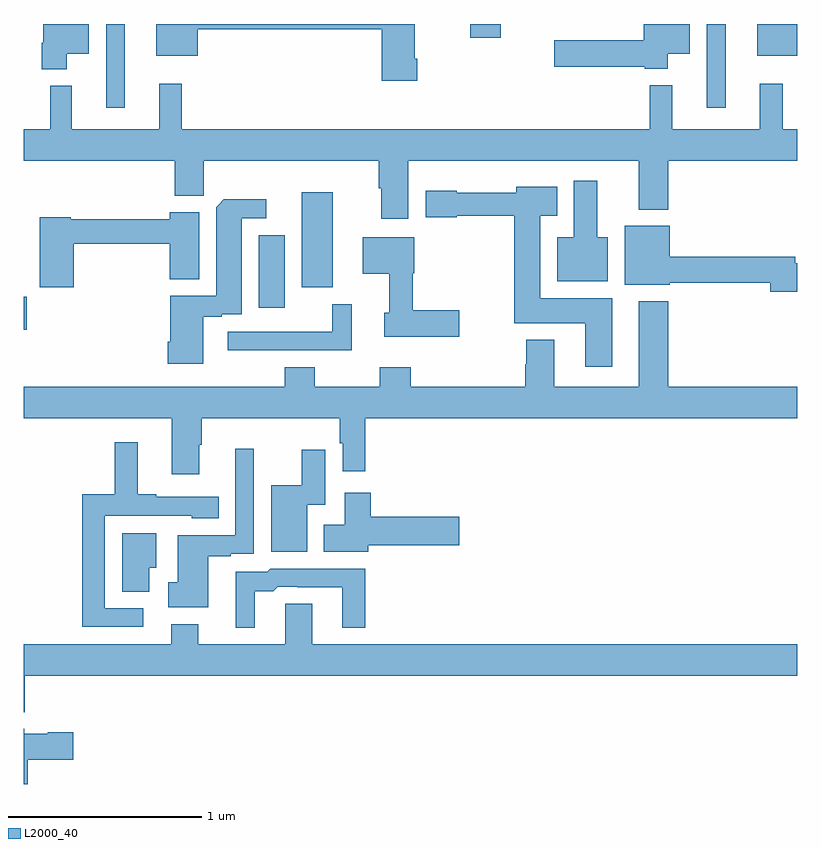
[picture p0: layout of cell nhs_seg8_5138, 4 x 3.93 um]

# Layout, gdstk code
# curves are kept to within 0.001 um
import gdstk
lib = gdstk.Library(unit=1e-6, precision=1e-09)
def R(c, l, rs):  # rectangles x0, y0, x1, y1
    for r in rs: c.add(gdstk.rectangle(r[:2], r[2:], *l))
def P(c, l, *ps):  # polygons
    for p in ps: c.add(gdstk.Polygon(p, *l))
L2000_40 = (2000, 40)

nhs_seg8_5138 = lib.new_cell('nhs_seg8_5138')
R(nhs_seg8_5138, L2000_40, [(421,1090.319,421.015,1090.49), (422.216,1090.431,422.35,1090.807), (422.438,1090.539,422.599,1091.029), (421.425,1091.466,421.522,1091.9), (424.533,1091.466,424.63,1091.9), (424.793,1091.735,425,1091.9), (423.308,1091.829,423.466,1091.9)])
P(nhs_seg8_5138, L2000_40, [(423.035,1091.719),(423.022,1091.719),(423.022,1091.9),(421.685,1091.9),(421.685,1091.735),(421.9,1091.735),(421.9,1091.872),(422.852,1091.872),(422.852,1091.607),(423.035,1091.607)],
  [(424.33,1091.747),(424.444,1091.747),(424.444,1091.9),(424.208,1091.9),(424.208,1091.817),(423.744,1091.817),(423.744,1091.68),(424.212,1091.68),(424.212,1091.669),(424.33,1091.669)],
  [(421.222,1091.747),(421.336,1091.747),(421.336,1091.9),(421.1,1091.9),(421.1,1091.802),(421.093,1091.802),(421.093,1091.666),(421.222,1091.666)],
  [(421.817,1091.59),(421.7,1091.59),(421.7,1091.356),(421.247,1091.356),(421.247,1091.581),(421.137,1091.581),(421.137,1091.356),(421,1091.356),(421,1091.192),(421.781,1091.192),(421.781,1091.011),(421.931,1091.011),(421.931,1091.192),(422.837,1091.192),(422.837,1091.051),(422.849,1091.051),(422.849,1090.893),(422.989,1090.893),(422.989,1091.192),(424.181,1091.192),(424.181,1090.94),(424.334,1090.94),(424.334,1091.192),(425,1091.192),(425,1091.356),(424.925,1091.356),(424.925,1091.59),(424.808,1091.59),(424.808,1091.356),(424.355,1091.356),(424.355,1091.584),(424.237,1091.584),(424.237,1091.356),(421.817,1091.356)],
  [(424.021,1090.798),(423.967,1090.798),(423.967,1091.089),(423.845,1091.089),(423.845,1090.798),(423.758,1090.798),(423.758,1090.568),(424.021,1090.568)],
  [(424.045,1090.48),(423.67,1090.48),(423.67,1090.907),(423.76,1090.907),(423.76,1091.059),(423.548,1091.059),(423.548,1091.026),(423.24,1091.026),(423.24,1091.038),(423.078,1091.038),(423.078,1090.901),(423.24,1090.901),(423.24,1090.909),(423.536,1090.909),(423.536,1090.352),(423.905,1090.352),(423.905,1090.128),(424.045,1090.128)],
  [(421.927,1090.386),(422.024,1090.386),(422.024,1090.398),(422.128,1090.398),(422.128,1090.896),(422.254,1090.896),(422.254,1090.994),(422.035,1090.994),(421.994,1090.952),(421.994,1090.494),(421.757,1090.494),(421.757,1090.255),(421.745,1090.255),(421.745,1090.143),(421.927,1090.143)],
  [(421.259,1090.762),(421.754,1090.762),(421.754,1090.579),(421.906,1090.579),(421.906,1090.926),(421.754,1090.926),(421.754,1090.891),(421.242,1090.891),(421.242,1090.899),(421.081,1090.899),(421.081,1090.539),(421.259,1090.539)],
  [(425,1090.661),(424.99,1090.661),(424.99,1090.697),(424.342,1090.697),(424.342,1090.855),(424.109,1090.855),(424.109,1090.55),(424.342,1090.55),(424.342,1090.561),(424.862,1090.561),(424.862,1090.514),(425,1090.514)],
  [(423.253,1090.418),(423.011,1090.418),(423.011,1090.611),(423.019,1090.611),(423.019,1090.798),(422.753,1090.798),(422.753,1090.607),(422.89,1090.607),(422.89,1090.405),(422.864,1090.405),(422.864,1090.283),(423.253,1090.283)],
  [(421.906,1089.723),(421.919,1089.723),(421.919,1089.86),(422.633,1089.86),(422.633,1089.731),(422.649,1089.731),(422.649,1089.585),(422.765,1089.585),(422.765,1089.86),(425,1089.86),(425,1090.024),(424.334,1090.024),(424.334,1090.465),(424.181,1090.465),(424.181,1090.024),(423.745,1090.024),(423.745,1090.267),(423.598,1090.267),(423.598,1090.14),(423.593,1090.14),(423.593,1090.024),(423.002,1090.024),(423.002,1090.123),(422.842,1090.123),(422.842,1090.024),(422.505,1090.024),(422.505,1090.123),(422.35,1090.123),(422.35,1090.024),(421,1090.024),(421,1089.86),(421.766,1089.86),(421.766,1089.57),(421.906,1089.57)],
  [(422.695,1090.45),(422.596,1090.45),(422.596,1090.308),(422.055,1090.308),(422.055,1090.212),(422.695,1090.212)],
  [(421.618,1088.877),(421.419,1088.877),(421.419,1089.357),(421.869,1089.357),(421.869,1089.344),(422.009,1089.344),(422.009,1089.453),(421.684,1089.453),(421.684,1089.466),(421.588,1089.466),(421.588,1089.736),(421.471,1089.736),(421.471,1089.466),(421.303,1089.466),(421.303,1088.781),(421.618,1088.781)],
  [(421.954,1089.147),(422.069,1089.147),(422.069,1089.159),(422.19,1089.159),(422.19,1089.703),(422.094,1089.703),(422.094,1089.255),(421.796,1089.255),(421.796,1089.012),(421.746,1089.012),(421.746,1088.882),(421.954,1088.882)],
  [(422.467,1089.413),(422.559,1089.413),(422.559,1089.697),(422.438,1089.697),(422.438,1089.514),(422.279,1089.514),(422.279,1089.17),(422.467,1089.17)],
  [(422.782,1089.203),(423.253,1089.203),(423.253,1089.35),(422.795,1089.35),(422.795,1089.475),(422.66,1089.475),(422.66,1089.31),(422.552,1089.31),(422.552,1089.17),(422.782,1089.17)],
  [(421.648,1089.086),(421.684,1089.086),(421.684,1089.265),(421.508,1089.265),(421.508,1088.962),(421.648,1088.962)],
  [(422.194,1088.966),(422.291,1088.966),(422.313,1088.988),(422.413,1088.988),(422.413,1088.985),(422.648,1088.985),(422.648,1088.777),(422.765,1088.777),(422.765,1089.081),(422.274,1089.081),(422.259,1089.066),(422.096,1089.066),(422.096,1088.777),(422.194,1088.777)],
  [(421.004,1088.528),(425,1088.528),(425,1088.692),(422.491,1088.692),(422.491,1088.9),(422.351,1088.9),(422.351,1088.692),(421.903,1088.692),(421.903,1088.794),(421.763,1088.794),(421.763,1088.692),(421,1088.692),(421,1088.339),(421.004,1088.339)],
  [(421.019,1088.093),(421.255,1088.093),(421.255,1088.235),(421.122,1088.235),(421.122,1088.227),(421.002,1088.227),(421.002,1088.254),(421,1088.254),(421,1087.968),(421.019,1087.968)])

lib.write_gds('nhs_seg8_5138.gds')
